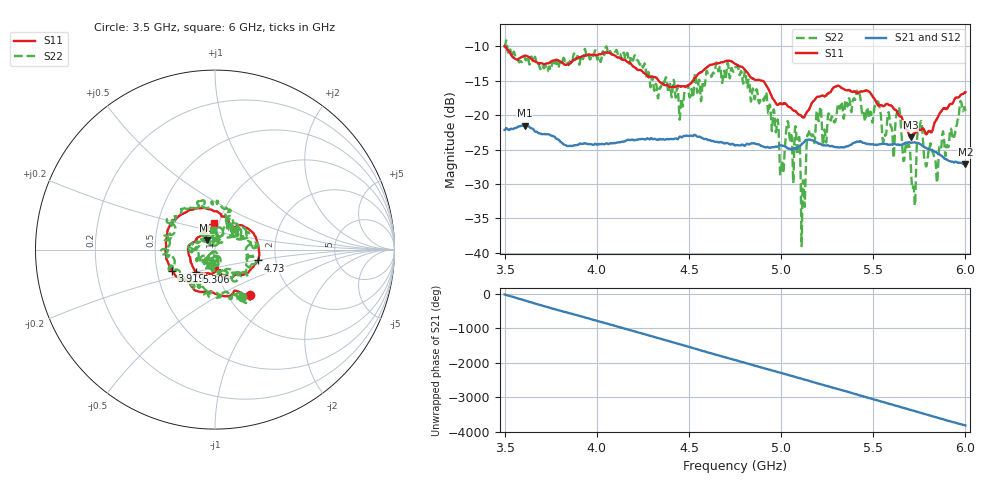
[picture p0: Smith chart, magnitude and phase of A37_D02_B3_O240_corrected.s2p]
! Created with skrf 1.9.0 (http://scikit-rf.org).
# Hz S RI R 50.0
!freq ReS11 ImS11 ReS21 ImS21 ReS12 ImS12 ReS22 ImS22
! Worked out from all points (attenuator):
!   1601 points, 3.5 GHz to 6 GHz, reference 50 ohm
!   highest |S21| = -21.50 dB at 3.609 GHz (marker M1); lowest = -27.1 dB at 6 GHz (marker M2)
!   lowest |S11| = -23.2 dB at 5.703 GHz (marker M3), VSWR 1.15, Z = 45.4 + j4.76 ohm
!   |S11| at or under -10 dB: 3.502 GHz to end of sweep
!   |S22| runs from -39.0 to -9.1 dB; largest |S21 - S12| = 0.00097
!   S11 on the Smith chart (normalised r, x): 3.5 GHz: 1.26, -0.71; 3.919 GHz: 0.60, -0.15; 4.73 GHz: 1.61, -0.21; 5.306 GHz: 0.79, -0.20; 6 GHz: 0.95, +0.28
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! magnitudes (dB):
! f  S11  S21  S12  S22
! 3.5 GHz  -9.9  -22.1  -22.1  -10.3
! 3.609 GHz  -11.3  -21.5  -21.5  -11.6
! 3.917 GHz  -11.5  -24.2  -24.2  -11.2
! 3.919 GHz  -11.5  -24.2  -24.2  -11.4
! 4.334 GHz  -15.0  -23.5  -23.5  -17.3
! 4.73 GHz  -12.1  -24.2  -24.1  -13.2
! 4.75 GHz  -12.5  -24.4  -24.3  -13.1
! 4.927 GHz  -16.0  -24.6  -24.6  -18.7
! 5.005 GHz  -18.3  -24.4  -24.4  -26.6
! 5.034 GHz  -18.6  -24.8  -24.7  -21.0
! 5.088 GHz  -19.7  -24.8  -24.8  -25.7
! 5.119 GHz  -20.3  -24.1  -24.0  -29.5
! 5.147 GHz  -19.3  -23.6  -23.6  -22.8
! 5.167 GHz  -18.2  -23.6  -23.6  -23.0
! 5.306 GHz  -15.7  -24.7  -24.6  -18.7
! 5.584 GHz  -18.5  -24.3  -24.3  -19.6
! 5.638 GHz  -20.0  -24.3  -24.2  -18.9
! 5.703 GHz  -23.2  -24.0  -24.0  -26.7
! 5.72 GHz  -22.7  -24.0  -23.9  -30.6
! 5.753 GHz  -22.2  -24.2  -24.1  -21.6
! 5.842 GHz  -20.7  -25.4  -25.4  -28.3
! 6 GHz  -16.7  -27.1  -27.1  -19.4
